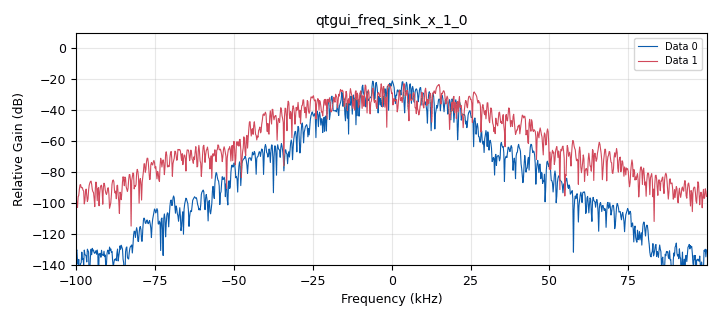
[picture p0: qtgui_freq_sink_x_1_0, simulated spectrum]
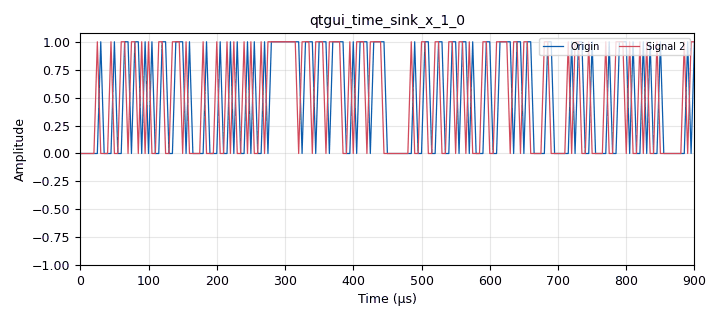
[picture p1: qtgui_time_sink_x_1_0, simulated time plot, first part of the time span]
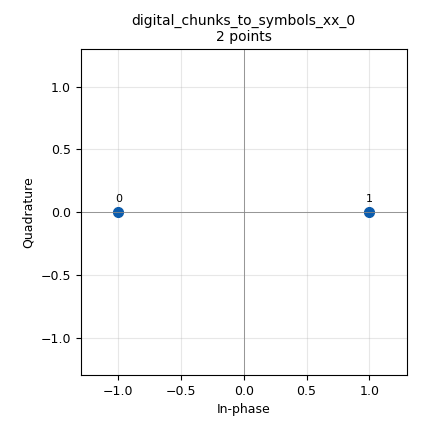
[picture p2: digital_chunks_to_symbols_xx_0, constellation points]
options:
  parameters:
    author: Ckjaer
    generate_options: qt_gui
    id: gaussianFilter
    output_language: python
    title: Not titled yet
  states: {}

blocks:
- name: BT
  id: variable
  parameters:
    value: '0.25'
  states: {}
- name: dec
  id: variable_qtgui_range
  parameters:
    start: '1'
    step: '0.01'
    stop: '2'
    value: '2'
  states: {state: disabled}
- name: dec
  id: variable_qtgui_chooser
  parameters:
    num_opts: '3'
    option0: '1'
    option1: '1.6'
    option2: '2'
    type: real
    value: '1.6'
  states: {}
- name: decimation
  id: variable
  parameters:
    value: dec
  states: {}
- name: delay
  id: variable_qtgui_range
  parameters:
    start: '0'
    step: '1'
    stop: '150'
    value: '24'
  states: {}
- name: fft_size
  id: variable
  parameters:
    value: '1024'
  states: {}
- name: gaussian_taps
  id: variable
  parameters:
    value: '0'
  states: {}
- name: interp
  id: variable
  parameters:
    value: interp_id
  states: {}
- name: interp_id
  id: variable_qtgui_range
  parameters:
    rangeType: int
    start: '2'
    step: '1'
    stop: '50'
    value: '4'
  states: {}
- name: samp_rate
  id: variable
  parameters:
    value: 200e3
  states: {}
- name: sps
  id: variable
  parameters:
    value: sps_id
  states: {}
- name: sps_id
  id: variable_qtgui_range
  parameters:
    start: '2'
    step: '2'
    stop: '20'
    value: '4'
  states: {}
- name: analog_frequency_modulator_fc_0
  id: analog_frequency_modulator_fc
  parameters:
    sensitivity: (np.pi / 2) / interp
  states: {}
- name: analog_quadrature_demod_cf_0
  id: analog_quadrature_demod_cf
  parameters:
    gain: '1'
  states: {}
- name: analog_random_source_x_0
  id: analog_random_source_x
  parameters:
    max: '256'
    min: '0'
    num_samps: '1000'
    repeat: 'True'
    type: byte
  states: {}
- name: blocks_packed_to_unpacked_xx_0
  id: blocks_packed_to_unpacked_xx
  parameters:
    bits_per_chunk: '1'
    endianness: gr.GR_MSB_FIRST
    type: byte
  states: {}
- name: blocks_throttle2_0
  id: blocks_throttle2
  parameters:
    samples_per_second: samp_rate
    type: byte
  states: {}
- name: blocks_uchar_to_float_0_0_0
  id: blocks_uchar_to_float
  parameters: {}
  states: {}
- name: blocks_uchar_to_float_0_0_0_0
  id: blocks_uchar_to_float
  parameters: {}
  states: {}
- name: digital_binary_slicer_fb_0
  id: digital_binary_slicer_fb
  parameters: {}
  states: {}
- name: digital_chunks_to_symbols_xx_0
  id: digital_chunks_to_symbols_xx
  parameters:
    dimension: '1'
    in_type: byte
    out_type: float
    symbol_table: '[-1, 1]'
  states: {}
- name: digital_symbol_sync_xx_1
  id: digital_symbol_sync_xx
  parameters:
    damping: '1.0'
    loop_bw: '0.045'
    max_dev: '1.5'
    nfilters: '64'
    osps: '1'
    resamp_type: digital.IR_PFB_NO_MF
    sps: interp
    ted_gain: '1.0'
    ted_type: digital.TED_SIGNAL_TIMES_SLOPE_ML
    type: ff
  states: {}
- name: epy_block_0_0_0
  id: epy_block
  parameters:
    _source_code: |
      import numpy as np
      from gnuradio import gr
      import pmt

      class blk(gr.sync_block):  # other base classes are basic_block, decim_block, interp_block

          def __init__(self, snr=10, addr="awgn"):  # only default arguments here
              gr.sync_block.__init__(
                  self,
                  name='AWGN Channel',   # will show up in GRC
                  in_sig=[np.complex64],
                  out_sig=[np.complex64]
              )
              self.addr = addr
              self.snr = snr
              window_size = 100
              self.kernel = np.ones(window_size)/window_size

              # message port setup
              self.message_in = 'msg_in'
              self.message_port_register_in(pmt.intern(self.message_in))
              self.set_msg_handler(pmt.intern(self.message_in), self.mailbox)
              self.message_out = 'msg_out'
              self.message_port_register_out(pmt.intern(self.message_out))


          def extract_pmt(self, msg):
              try:
                  data = pmt.to_python(msg)
              except:
                  self.message_port_pub(pmt.intern(self.message_out), pmt.to_pmt("Err: Invalid format"))
              return data

          def unpack(self, msg):
              if msg[0] == self.addr:
                  return msg[1:]
              else: return False


          def mailbox(self, msg):
              r = {}
              try:
                  data = self.extract_pmt(msg)

                  #If address check is active:
                  data = self.unpack(data)
                  if data == False: return 

                  varname = list(data[1].keys())[0]
                  if varname not in self.__dict__:
                      raise Exception("Err: Unknown variable")
                  
                  if data[0].lower() == "get":
                      r[varname] = self.__dict__[varname]
                  elif data[0].lower() == "set":
                      if type(data[1][varname]) != type(self.__dict__[varname]):
                          raise Exception("Err: Variable in wrong format")
                      else:
                          self.__dict__[varname] = data[1][varname]
                          r[varname] = "ok"
                  
                  #If address return with SRC
                  r = [self.addr, r]

                  self.message_port_pub(pmt.intern(self.message_out), pmt.to_pmt(r))
                  return

              except Exception as e:
                  self.message_port_pub(pmt.intern(self.message_out), pmt.to_pmt(str(e)))

          def work(self, input_items, output_items):
              # Calculate the moving average of the signal power to determine the noise power
              data = input_items[0][:]
              signal_power = data.real**2 + data.imag**2 # convert to power
              signal_power_avg = np.convolve(signal_power, self.kernel , mode='same')[-1]
              noise_power = signal_power_avg / 10**(self.snr/10)

              # Debug messages
              # if self.nitems_written(0) % 100 == 0:
              #     print(f"Signal Power Average: {np.sqrt(signal_power_avg)}")
              #     print(f"Noise Power: {np.sqrt(noise_power)}")

              noise_vector = np.sqrt(noise_power) * (np.random.randn(len(input_items[0])) + 1j * np.random.randn(len(input_items[0])))
              output_items[0][:] = input_items[:] + noise_vector
              return len(output_items[0])
    addr: '"awgn"'
    snr: '20'
  states: {}
- name: import_0
  id: import
  parameters:
    imports: import numpy as np
  states: {}
- name: interp_fir_filter_xxx_0
  id: interp_fir_filter_xxx
  parameters:
    comment: Gaussian filter
    interp: '4'
    taps: taps.generate_taps(4, 0.25)
    type: fff
  states: {}
- name: mmse_resampler_xx_0
  id: mmse_resampler_xx
  parameters:
    phase_shift: '0'
    resamp_ratio: '1.64365'
    type: complex
  states: {}
- name: mmse_resampler_xx_0_0
  id: mmse_resampler_xx
  parameters:
    phase_shift: '0'
    resamp_ratio: 1/1.64365
    type: complex
  states: {}
- name: qtgui_freq_sink_x_1_0
  id: qtgui_freq_sink_x
  parameters:
    bw: samp_rate
    fc: '0'
    fftsize: '1024'
    nconnections: '2'
    type: complex
  states: {}
- name: qtgui_time_sink_x_0
  id: qtgui_time_sink_x
  parameters:
    size: '1024'
    srate: samp_rate
    type: float
  states: {state: disabled}
- name: qtgui_time_sink_x_1
  id: qtgui_time_sink_x
  parameters:
    label1: Decoded
    size: '1024'
    srate: samp_rate
    type: float
  states: {state: disabled}
- name: qtgui_time_sink_x_1_0
  id: qtgui_time_sink_x
  parameters:
    label1: Origin
    nconnections: '2'
    size: '1024'
    srate: samp_rate
    type: float
  states: {}
- name: rational_resampler_xxx_0
  id: rational_resampler_xxx
  parameters:
    decim: int(150e3)
    interp: int(samp_rate)
    type: ccc
  states: {state: disabled}
- name: rational_resampler_xxx_1
  id: rational_resampler_xxx
  parameters:
    decim: int(samp_rate)
    interp: int(150e3)
    type: ccc
  states: {state: disabled}
- name: taps
  id: epy_module
  parameters:
    comment: Calculates the filter taps
    source_code: "import numpy as np\r\nfrom gnuradio import filter\r\n\r\ndef generate_taps(samples_per_symbol, bt):\r\n    samples_per_symbol = int(samples_per_symbol)\r\n    ntaps = 4 * samples_per_symbol\r\n\r\n    # Generate Gaussian filter taps\r\n    gaussian_taps = filter.firdes.gaussian(\r\n        1,                       # gain\r\n        samples_per_symbol,      # symbol_rate\r\n        bt,                      # bandwidth time product\r\n        ntaps                    # number of filter taps\r\n    )\r\n\r\n    taps = np.convolve(np.array(gaussian_taps), np.ones(samples_per_symbol))    \r\n    return taps\r\n\r\n\r\n"
  states: {}
- name: virtual_sink_2_0_0
  id: virtual_sink
  parameters:
    stream_id: msg_out3
  states: {}
- name: virtual_source_1_0_0_0
  id: virtual_source
  parameters:
    stream_id: msg_in
  states: {}

connections:
- [analog_frequency_modulator_fc_0, '0', mmse_resampler_xx_0, '0']
- [analog_frequency_modulator_fc_0, '0', qtgui_freq_sink_x_1_0, '0']
- [analog_frequency_modulator_fc_0, '0', rational_resampler_xxx_0, '0']
- [analog_quadrature_demod_cf_0, '0', digital_symbol_sync_xx_1, '0']
- [analog_random_source_x_0, '0', blocks_packed_to_unpacked_xx_0, '0']
- [blocks_packed_to_unpacked_xx_0, '0', blocks_throttle2_0, '0']
- [blocks_throttle2_0, '0', blocks_uchar_to_float_0_0_0_0, '0']
- [blocks_throttle2_0, '0', digital_chunks_to_symbols_xx_0, '0']
- [blocks_uchar_to_float_0_0_0, '0', qtgui_time_sink_x_1, '0']
- [blocks_uchar_to_float_0_0_0, '0', qtgui_time_sink_x_1_0, '1']
- [blocks_uchar_to_float_0_0_0_0, '0', qtgui_time_sink_x_0, '0']
- [blocks_uchar_to_float_0_0_0_0, '0', qtgui_time_sink_x_1_0, '0']
- [digital_binary_slicer_fb_0, '0', blocks_uchar_to_float_0_0_0, '0']
- [digital_chunks_to_symbols_xx_0, '0', interp_fir_filter_xxx_0, '0']
- [digital_symbol_sync_xx_1, '0', digital_binary_slicer_fb_0, '0']
- [epy_block_0_0_0, msg_out, virtual_sink_2_0_0, '0']
- [interp_fir_filter_xxx_0, '0', analog_frequency_modulator_fc_0, '0']
- [mmse_resampler_xx_0, '0', mmse_resampler_xx_0_0, '0']
- [mmse_resampler_xx_0, '0', qtgui_freq_sink_x_1_0, '1']
- [mmse_resampler_xx_0_0, '0', analog_quadrature_demod_cf_0, '0']
- [rational_resampler_xxx_0, '0', rational_resampler_xxx_1, '0']
- [rational_resampler_xxx_1, '0', analog_quadrature_demod_cf_0, '0']
- [virtual_source_1_0_0_0, '0', epy_block_0_0_0, msg_in]

metadata:
  file_format: 1
  grc_version: 3.10.9.2
